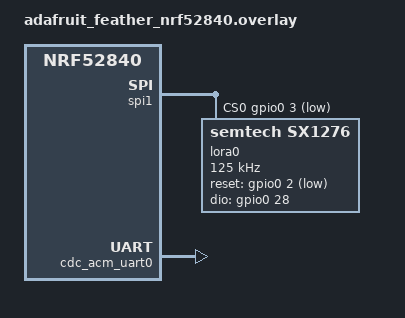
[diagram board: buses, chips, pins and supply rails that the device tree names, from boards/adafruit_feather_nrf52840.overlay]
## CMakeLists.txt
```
# SPDX-License-Identifier: Apache-2.0

cmake_minimum_required(VERSION 3.20.0)

find_package(Zephyr REQUIRED HINTS $ENV{ZEPHYR_BASE})
project(lora_send)

FILE(GLOB app_sources src/*.c)
target_sources(app PRIVATE ${app_sources})

target_sources(app PRIVATE components/lora/lora.c)
target_include_directories(app PRIVATE components/lora)
```

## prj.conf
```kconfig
CONFIG_SPI=y
CONFIG_LORA=y
CONFIG_LORA_LOG_LEVEL_DBG=y
CONFIG_LORA_SX127X=y
CONFIG_PRINTK=y


CONFIG_LOG=y
```

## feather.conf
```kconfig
CONFIG_USB_DEVICE_STACK=y
CONFIG_USB_DEVICE_PRODUCT="Zephyr USB console sample"
CONFIG_USB_DEVICE_PID=0x0004
CONFIG_USB_DEVICE_INITIALIZE_AT_BOOT=n

CONFIG_SERIAL=y
CONFIG_CONSOLE=y
CONFIG_UART_CONSOLE=y
CONFIG_UART_LINE_CTRL=y
```

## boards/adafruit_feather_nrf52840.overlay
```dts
&spi1 {
	compatible = "nordic,nrf-spi";
	status = "okay";
	cs-gpios = <&gpio0 3 GPIO_ACTIVE_LOW>;
	pinctrl-0 = <&spi1_default>;
	pinctrl-1 = <&spi1_sleep>;
	pinctrl-names = "default", "sleep";
	lora0: sx1276@0 {
		compatible = "semtech,sx1276";
		reg = <0>;
		reset-gpios = <&gpio0 2 GPIO_ACTIVE_LOW>;
		dio-gpios = <&gpio0 28 (GPIO_PULL_DOWN | GPIO_ACTIVE_HIGH)>;
		power-amplifier-output = "pa-boost";
		spi-max-frequency = <125000>;
	};
};

/ {
     aliases {
             lora0 = &lora0;
     };
};

/ {
	chosen {
		zephyr,console = &cdc_acm_uart0;
	};
};

&zephyr_udc0 {
	cdc_acm_uart0: cdc_acm_uart0 {
		compatible = "zephyr,cdc-acm-uart";
	};
};
```

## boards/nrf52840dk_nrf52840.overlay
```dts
&spi1 {
	compatible = "nordic,nrf-spi";
	status = "okay";
	cs-gpios = <&gpio1 6 (GPIO_ACTIVE_LOW)>;
	pinctrl-0 = <&spi1_default>;
	pinctrl-1 = <&spi1_sleep>;
	pinctrl-names = "default", "sleep";
	lora0: sx1276@0 {
		compatible = "semtech,sx1276";
		reg = <0>;
		reset-gpios = <&gpio1 7 GPIO_ACTIVE_LOW>;
		dio-gpios = <&gpio1 5 (GPIO_PULL_DOWN | GPIO_ACTIVE_HIGH)>;
		power-amplifier-output = "pa-boost";
		spi-max-frequency = <125000>;
	};
};

/ {
     aliases {
             lora0 = &lora0;
     };
};
```

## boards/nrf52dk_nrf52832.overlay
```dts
&spi1 {
	compatible = "nordic,nrf-spim";
	status = "okay";
	cs-gpios = <&gpio0 15 GPIO_ACTIVE_LOW>;
	pinctrl-0 = <&spi1_default>;
	pinctrl-1 = <&spi1_sleep>;
	pinctrl-names = "default", "sleep";
	lora0: sx1276@0 {
		compatible = "semtech,sx1276";
		reg = <0>;
		reset-gpios = <&gpio0 13 GPIO_ACTIVE_LOW>;
		dio-gpios = <&gpio0 24 (GPIO_PULL_DOWN | GPIO_ACTIVE_HIGH)>,
					<&gpio0 22 (GPIO_PULL_DOWN | GPIO_ACTIVE_HIGH)>,
					<&gpio0 17 (GPIO_PULL_DOWN | GPIO_ACTIVE_HIGH)>;
		power-amplifier-output = "pa-boost";
		spi-max-frequency = <125000>;
	};
};

/ {
     aliases {
             lora0 = &lora0;
     };
};
```

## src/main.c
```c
/*
 * Copyright (c) 2019 Manivannan Sadhasivam
 *
 * SPDX-License-Identifier: Apache-2.0
 */

#include <zephyr/device.h>
#include <zephyr/kernel.h>

#ifdef CONFIG_USB_DEVICE_STACK
#include <zephyr/usb/usb_device.h>
#include <zephyr/usb/usbd.h>
#include <zephyr/drivers/uart.h>
#endif


// Lora stuff

#include "lora.h"
K_THREAD_STACK_DEFINE(my_stack_area, LORA_THREAD_STACKSIZE);
struct k_thread my_thread_data;

#include <zephyr/logging/log.h>
LOG_MODULE_REGISTER(main);

int main(void)
{
	
	#ifdef CONFIG_USB_DEVICE_STACK
	if (usb_enable(NULL)) {
		return 0;
	}
	#endif

	
	//tx
	// if(Initialize_LoRa(true) == 1){
	// 	LOG_INF("Lora TX sucesfully initialized \n ");
	// 	k_tid_t my_tid = k_thread_create(&my_thread_data, my_stack_area,
    //                              K_THREAD_STACK_SIZEOF(my_stack_area),
    //                              Setup_LoRa_send_thread,
    //                              NULL, NULL, NULL,
    //                              LORA_THREAD_PRIORITY, 0, K_NO_WAIT);
	// }

	//rx
	if(Initialize_LoRa(false) == 1){
		Setup_LoRa_receive();
	}


}
```
